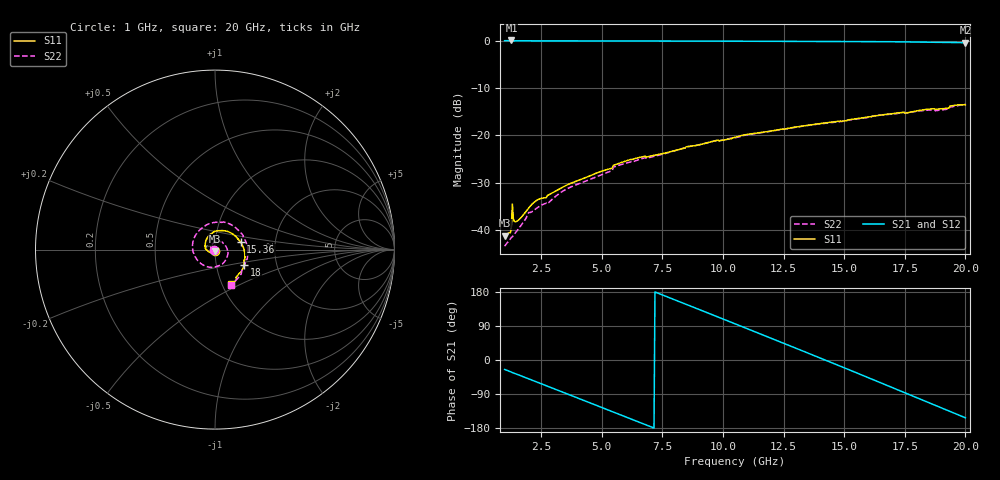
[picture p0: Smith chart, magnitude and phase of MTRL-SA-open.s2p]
! Multiline TRL de-embedded results
! Powered by MTRL v0.1 based on Matlab. Written by Simon.
! 29-Mar-2016 20:38:10
# hz S ma R 50
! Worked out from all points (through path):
!   476 points, 1 GHz to 20 GHz, reference 50 ohm
!   highest |S21| = 0.04 dB at 1.28 GHz (marker M1); lowest = -0.4 dB at 20 GHz (marker M2)
!   group delay of S21, straight-line fit = 71.2 ps
!   lowest |S11| = -41.1 dB at 1 GHz (marker M3), VSWR 1.02, Z = 50.1 - j0.875 ohm
!   |S11| at or under -10 dB: start of sweep to end of sweep
!   |S22| runs from -43.4 to -13.4 dB; largest |S21 - S12| = 0
!   S11 on the Smith chart (normalised r, x): 1 GHz: 1.00, -0.02; 15.36 GHz: 1.33, +0.12; 18 GHz: 1.36, -0.24; 20 GHz: 1.10, -0.44
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1e9  0.008772 -84.5  0.9984 -24.9  0.9984 -24.9  0.006798 -152.6
1.2e9  0.009387 -108.9  0.9994 -29.9  0.9994 -29.9  0.007885 -156.3
1.28e9  0.0112 -175.8  1.005 -31.8  1.005 -31.8  0.008438 -158.0
2e9  0.01727 -107.1  0.9965 -49.9  0.9965 -49.9  0.01544 -173.6
2.8e9  0.0235 -128.6  0.9948 -69.9  0.9948 -69.9  0.01939 166.8
4.2e9  0.0347 -156.5  0.9946 -105.0  0.9946 -105.0  0.03191 127.8
5e9  0.04198 -170.8  0.994 -125.2  0.994 -125.2  0.03862 101.4
5.88e9  0.05253 174.9  0.9927 -147.4  0.9927 -147.4  0.04997 72.9
6.64e9  0.05927 161.0  0.9913 -166.5  0.9913 -166.5  0.05674 47.4
7.36e9  0.06313 149.4  0.9912 175.5  0.9912 175.5  0.0619 21.8
8.76e9  0.0775 124.7  0.9902 139.9  0.9902 139.9  0.07746 -24.7
9.68e9  0.08783 110.4  0.9887 116.5  0.9887 116.5  0.08792 -57.3
1.052e10  0.09583 96.6  0.9877 95.1  0.9877 95.1  0.09487 -85.7
1.196e10  0.111 72.8  0.9851 58.1  0.9851 58.1  0.1108 -136.5
1.284e10  0.1208 58.6  0.9839 35.5  0.9839 35.5  0.1202 -168.1
1.368e10  0.1299 44.1  0.9826 13.8  0.9826 13.8  0.1294 163.1
1.452e10  0.1387 29.5  0.9812 -7.8  0.9812 -7.8  0.1371 134.1
1.536e10  0.1485 16.9  0.9803 -29.8  0.9803 -29.8  0.1475 103.2
1.684e10  0.1682 -9.1  0.975 -68.9  0.975 -68.9  0.167 50.2
1.8e10  0.1817 -27.9  0.968 -99.4  0.968 -99.4  0.18 8.1
1.892e10  0.1904 -46.8  0.9631 -123.8  0.9631 -123.8  0.1846 -24.0
2e10  0.2099 -65.2  0.9518 -152.5  0.9518 -152.5  0.2145 -65.9
